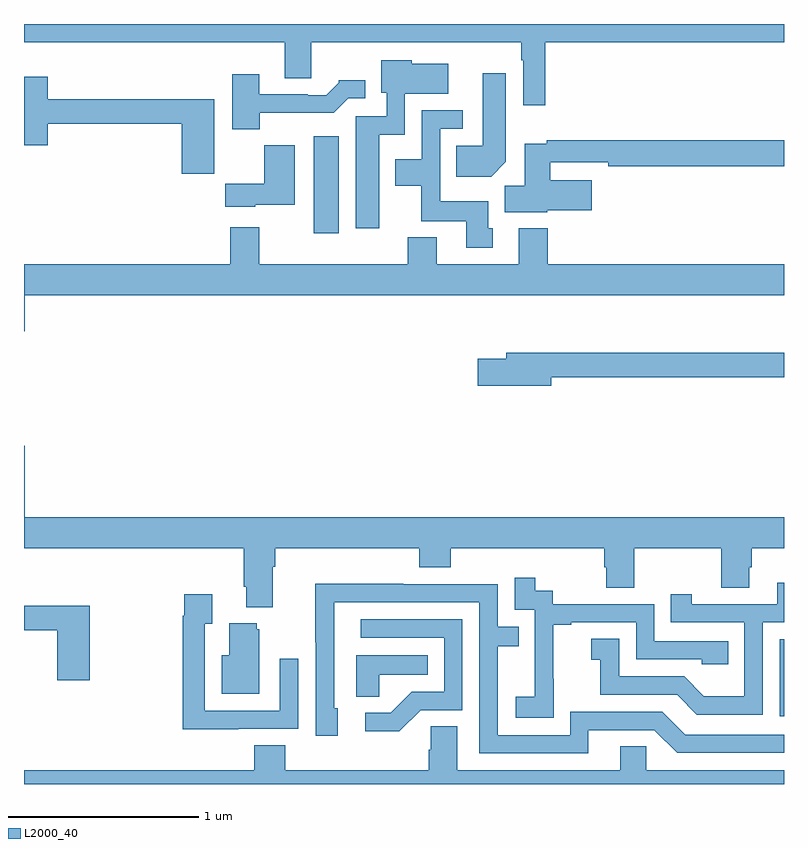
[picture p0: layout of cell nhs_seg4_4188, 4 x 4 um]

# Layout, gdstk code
import gdstk
lib = gdstk.Library(unit=1e-6, precision=1e-09)
def R(c, l, rs):  # rectangles x0, y0, x1, y1
    for r in rs: c.add(gdstk.rectangle(r[:2], r[2:], *l))
def P(c, l, *ps):  # polygons
    for p in ps: c.add(gdstk.Polygon(p, *l))
L2000_40 = (2000, 40)

nhs_seg4_4188 = lib.new_cell('nhs_seg4_4188')
R(nhs_seg4_4188, L2000_40, [(336.978,809.256,337,809.661), (334.526,811.8,334.657,812.308)])
P(nhs_seg4_4188, L2000_40, [(335.744,812.804),(337,812.804),(337,812.9),(333,812.9),(333,812.804),(334.373,812.804),(334.373,812.614),(334.513,812.614),(334.513,812.804),(335.616,812.804),(335.616,812.708),(335.628,812.708),(335.628,812.472),(335.744,812.472)],
  [(334.87,812.318),(335.004,812.318),(335.004,812.534),(335.233,812.534),(335.233,812.692),(335.04,812.692),(335.04,812.71),(334.88,812.71),(334.88,812.538),(334.908,812.538),(334.908,812.415),(334.745,812.415),(334.745,811.824),(334.87,811.824)],
  [(335.536,812.174),(335.536,812.641),(335.414,812.641),(335.414,812.26),(335.275,812.26),(335.275,812.096),(335.458,812.096)],
  [(334.24,812.432),(334.631,812.432),(334.707,812.508),(334.795,812.508),(334.795,812.605),(334.656,812.605),(334.656,812.59),(334.592,812.526),(334.493,812.526),(334.493,812.529),(334.237,812.529),(334.237,812.635),(334.097,812.635),(334.097,812.345),(334.24,812.345)],
  [(334,812.503),(333.125,812.503),(333.125,812.623),(333,812.623),(333,812.262),(333.125,812.262),(333.125,812.374),(333.83,812.374),(333.83,812.113),(334,812.113)],
  [(335.467,811.824),(335.443,811.824),(335.443,811.966),(335.19,811.966),(335.19,812.349),(335.308,812.349),(335.308,812.445),(335.094,812.445),(335.094,812.188),(334.955,812.188),(334.955,812.048),(335.092,812.048),(335.092,811.862),(335.327,811.862),(335.327,811.722),(335.467,811.722)],
  [(335.754,811.919),(335.989,811.919),(335.989,812.077),(335.771,812.077),(335.771,812.172),(336.076,812.172),(336.076,812.152),(337,812.152),(337,812.288),(335.752,812.288),(335.752,812.27),(335.636,812.27),(335.636,812.048),(335.531,812.048),(335.531,811.91),(335.754,811.91)],
  [(334.218,811.949),(334.426,811.949),(334.426,812.263),(334.264,812.263),(334.264,812.059),(334.06,812.059),(334.06,811.937),(334.218,811.937)],
  [(333.004,811.472),(337,811.472),(337,811.636),(335.756,811.636),(335.756,811.825),(335.603,811.825),(335.603,811.636),(335.173,811.636),(335.173,811.777),(335.021,811.777),(335.021,811.636),(334.237,811.636),(334.237,811.831),(334.085,811.831),(334.085,811.636),(333,811.636),(333,811.284),(333.004,811.284)],
  [(335.776,811.042),(337,811.042),(337,811.171),(335.537,811.171),(335.537,811.137),(335.388,811.137),(335.388,810.995),(335.776,810.995)],
  [(333.004,810.679),(333,810.679),(333,810.14),(334.157,810.14),(334.157,809.938),(334.169,809.938),(334.169,809.831),(334.309,809.831),(334.309,810.044),(334.322,810.044),(334.322,810.14),(335.081,810.14),(335.081,810.041),(335.246,810.041),(335.246,810.14),(336.053,810.14),(336.053,810.042),(336.065,810.042),(336.065,809.932),(336.213,809.932),(336.213,810.14),(336.67,810.14),(336.67,809.932),(336.817,809.932),(336.817,810.042),(336.83,810.042),(336.83,810.14),(337,810.14),(337,810.304),(333.004,810.304)],
  [(335.787,809.455),(335.786,809.455),(335.786,809.739),(335.881,809.739),(335.881,809.751),(336.222,809.751),(336.222,809.556),(336.567,809.556),(336.567,809.529),(336.707,809.529),(336.707,809.652),(336.318,809.652),(336.318,809.847),(335.784,809.847),(335.784,809.916),(335.692,809.916),(335.692,809.986),(335.583,809.986),(335.583,809.817),(335.688,809.817),(335.688,809.588),(335.687,809.588),(335.687,809.359),(335.589,809.359),(335.589,809.249),(335.787,809.249)],
  [(336.888,809.751),(337,809.751),(337,809.959),(336.965,809.959),(336.965,809.847),(336.514,809.847),(336.514,809.899),(336.403,809.899),(336.403,809.751),(336.792,809.751),(336.792,809.362),(336.578,809.362),(336.474,809.466),(336.132,809.466),(336.132,809.665),(335.985,809.665),(335.985,809.555),(336.034,809.555),(336.034,809.37),(336.437,809.37),(336.542,809.265),(336.888,809.265)],
  [(335.971,809.184),(336.318,809.184),(336.438,809.064),(337,809.064),(337,809.16),(336.48,809.16),(336.36,809.28),(335.874,809.28),(335.874,809.157),(335.493,809.157),(335.493,809.626),(335.603,809.626),(335.603,809.727),(335.493,809.727),(335.493,809.952),(334.997,809.952),(334.997,809.954),(334.534,809.954),(334.534,809.647),(334.536,809.647),(334.536,809.154),(334.651,809.154),(334.651,809.298),(334.632,809.298),(334.632,809.856),(335.397,809.856),(335.397,809.061),(335.971,809.061)],
  [(334.127,809.19),(334.443,809.19),(334.443,809.56),(334.347,809.56),(334.347,809.286),(333.951,809.286),(333.951,809.743),(333.991,809.743),(333.991,809.899),(333.843,809.899),(333.843,809.786),(333.835,809.786),(333.835,809.189),(334.127,809.189)],
  [(333.347,809.839),(333,809.839),(333,809.71),(333.176,809.71),(333.176,809.445),(333.347,809.445)],
  [(335.088,809.289),(335.307,809.289),(335.307,809.766),(334.773,809.766),(334.773,809.67),(335.211,809.67),(335.211,809.385),(335.042,809.385),(334.931,809.274),(334.797,809.274),(334.797,809.177),(334.975,809.177)],
  [(334.237,809.715),(334.226,809.715),(334.226,809.746),(334.079,809.746),(334.079,809.578),(334.04,809.578),(334.04,809.375),(334.237,809.375)],
  [(334.869,809.474),(335.126,809.474),(335.126,809.578),(334.748,809.578),(334.748,809.359),(334.869,809.359)],
  [(337,808.972),(336.276,808.972),(336.276,809.099),(336.137,809.099),(336.137,808.972),(335.281,808.972),(335.281,809.204),(335.142,809.204),(335.142,809.081),(335.129,809.081),(335.129,808.972),(334.376,808.972),(334.376,809.105),(334.211,809.105),(334.211,808.972),(333,808.972),(333,808.9),(337,808.9)])

lib.write_gds('nhs_seg4_4188.gds')
